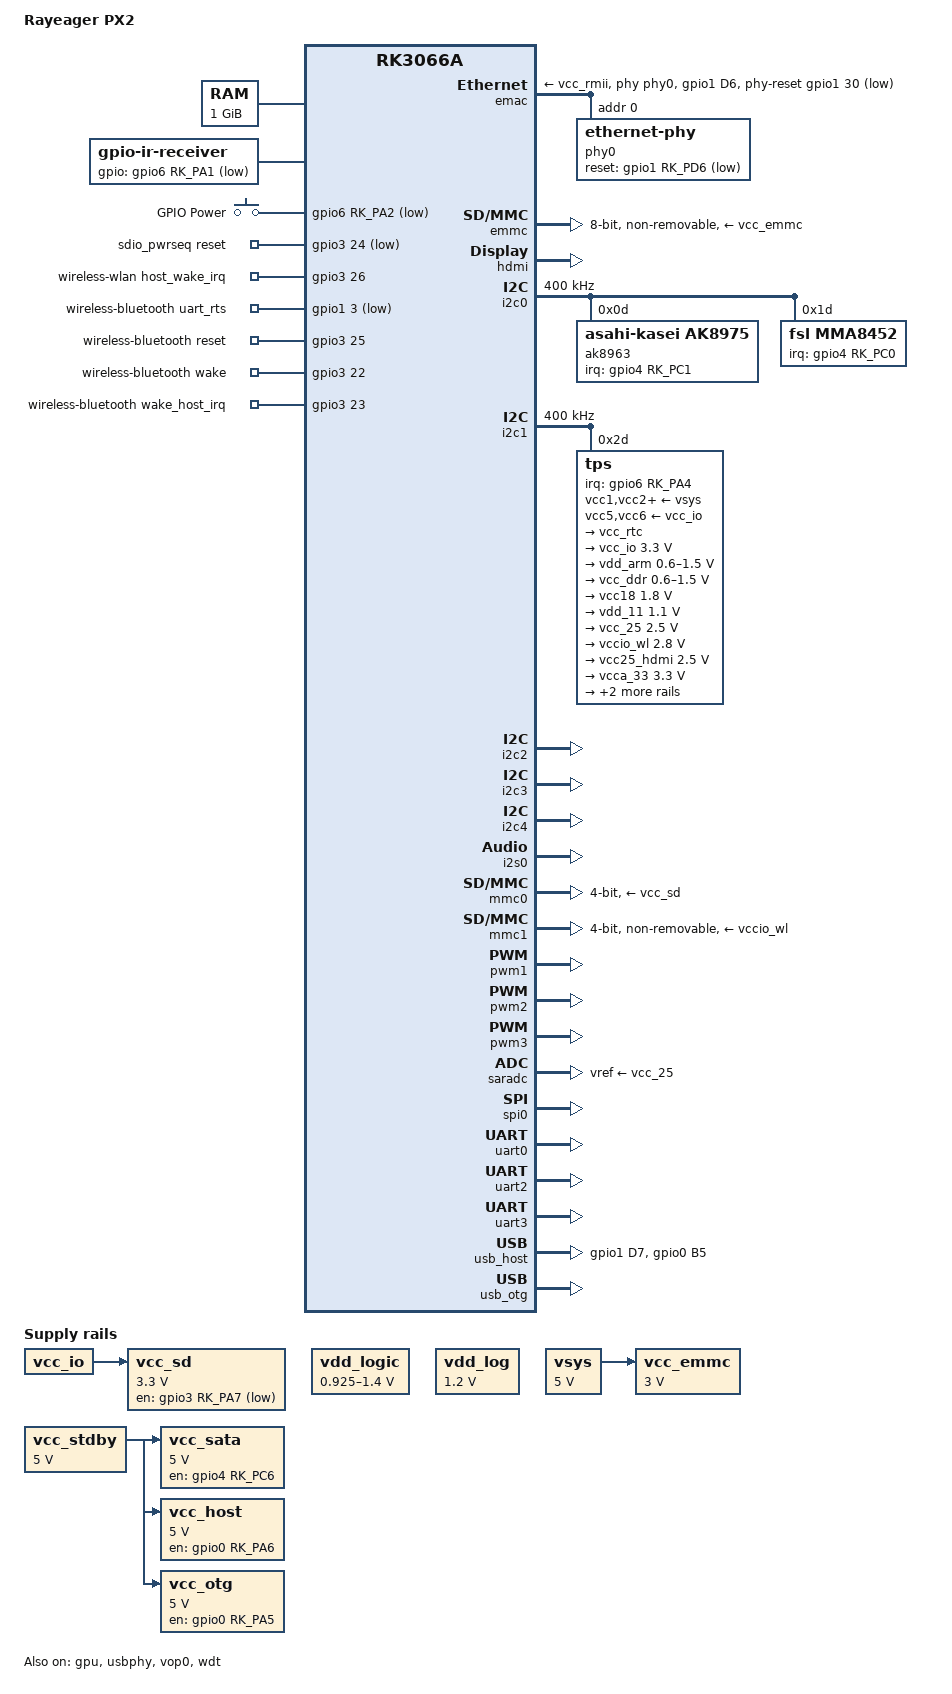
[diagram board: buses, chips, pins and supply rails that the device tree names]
// SPDX-License-Identifier: (GPL-2.0+ OR MIT)
/*
 * Copyright (c) 2014, 2015 FUKAUMI Naoki <naobsd@gmail.com>
 */

/dts-v1/;
#include <dt-bindings/input/input.h>
#include "rk3066a.dtsi"

/ {
	model = "Rayeager PX2";
	compatible = "chipspark,rayeager-px2", "rockchip,rk3066a";

	memory@60000000 {
		device_type = "memory";
		reg = <0x60000000 0x40000000>;
	};

	ir: ir-receiver {
		compatible = "gpio-ir-receiver";
		gpios = <&gpio6 RK_PA1 GPIO_ACTIVE_LOW>;
		pinctrl-names = "default";
		pinctrl-0 = <&ir_int>;
	};

	vdd_logic: vdd-logic {
		compatible = "pwm-regulator";

		pwms = <&pwm3 0 25000>;
		pwm-dutycycle-range = <100 0>;

		regulator-name = "vdd_logic";
		regulator-always-on;
		regulator-boot-on;
		regulator-min-microvolt = <925000>;
		regulator-max-microvolt = <1400000>;
		status = "okay";
	};

	keys: gpio-keys {
		compatible = "gpio-keys";

		power {
			wakeup-source;
			gpios = <&gpio6 RK_PA2 GPIO_ACTIVE_LOW>;
			label = "GPIO Power";
			linux,code = <KEY_POWER>;
			pinctrl-names = "default";
			pinctrl-0 = <&pwr_key>;
		};
	};

	sdio_pwrseq: sdio-pwrseq {
		compatible = "mmc-pwrseq-simple";
		clock-names = "ext_clock";
		pinctrl-names = "default";
		pinctrl-0 = <&wifi_reg_on>;

		/*
		 * On the module itself this is one of these (depending
		 * on the actual card populated):
		 * - SDIO_RESET_L_WL_REG_ON
		 * - PDN (power down when low)
		 */
		reset-gpios = <&gpio3 24 GPIO_ACTIVE_LOW>; /* GPIO3_D0 */
	};

	wireless-wlan {
		compatible = "wlan-platdata";
		rockchip,grf = <&grf>;
		wifi_chip_type = "ap6330";
		sdio_vref = <1800>;

		pinctrl-names = "default";
		pinctrl-0 = <&wifi_host_wake>;
		WIFI,host_wake_irq = <&gpio3 26 GPIO_ACTIVE_HIGH>; /* GPIO3_D2 */
		status = "okay";
	};

	wireless-bluetooth {
		compatible = "bluetooth-platdata";
		clock-names = "ext_clock";
		//wifi-bt-power-toggle;
		uart_rts_gpios = <&gpio1 3 GPIO_ACTIVE_LOW>; /* GPIO2_C3 */
		pinctrl-names = "default", "rts_gpio";
		pinctrl-0 = <&uart0_rts>;
		pinctrl-1 = <&uart0_gpios>;
		//BT,power_gpio  = <&gpio3 19 GPIO_ACTIVE_HIGH>; /* GPIOx_xx */
		BT,reset_gpio    = <&gpio3 25 GPIO_ACTIVE_HIGH>; /* GPIO3_D1 */
		BT,wake_gpio     = <&gpio3 22 GPIO_ACTIVE_HIGH>; /* GPIO3_C6 */
		BT,wake_host_irq = <&gpio3 23 GPIO_ACTIVE_HIGH>; /* GPIO3_C7 */
		status = "okay";
	};


	vdd_log: vdd-log {
		compatible = "pwm-regulator";
		pwms = <&pwm3 0 1000>;
		regulator-name = "vdd_log";
		regulator-min-microvolt = <1200000>;
		regulator-max-microvolt = <1200000>;
		regulator-always-on;
		voltage-table = <1000000 100>,
				<1200000 42>;
		status = "okay";
	};

	vsys: vsys-regulator {
		compatible = "regulator-fixed";
		regulator-name = "vsys";
		regulator-min-microvolt = <5000000>;
		regulator-max-microvolt = <5000000>;
		regulator-always-on;
		regulator-boot-on;
	};

	/* input for 5V_STDBY is VSYS or DC5V, selectable by jumper J4 */
	vcc_stdby: 5v-stdby-regulator {
		compatible = "regulator-fixed";
		regulator-name = "5v_stdby";
		regulator-min-microvolt = <5000000>;
		regulator-max-microvolt = <5000000>;
		regulator-always-on;
		regulator-boot-on;
	};

	vcc_emmc: emmc-regulator {
		compatible = "regulator-fixed";
		regulator-name = "emmc_vccq";
		regulator-min-microvolt = <3000000>;
		regulator-max-microvolt = <3000000>;
		vin-supply = <&vsys>;
	};

	vcc_sata: sata-regulator {
		compatible = "regulator-fixed";
		enable-active-high;
		gpio = <&gpio4 RK_PC6 GPIO_ACTIVE_HIGH>;
		pinctrl-names = "default";
		pinctrl-0 = <&sata_pwr>;
		regulator-name = "usb_5v";
		regulator-min-microvolt = <5000000>;
		regulator-max-microvolt = <5000000>;
		regulator-always-on;
		vin-supply = <&vcc_stdby>;
	};

	vcc_sd: sdmmc-regulator {
		compatible = "regulator-fixed";
		gpio = <&gpio3 RK_PA7 GPIO_ACTIVE_LOW>;
		pinctrl-names = "default";
		pinctrl-0 = <&sdmmc_pwr>;
		regulator-name = "vcc_sd";
		regulator-min-microvolt = <3300000>;
		regulator-max-microvolt = <3300000>;
		startup-delay-us = <100000>;
		vin-supply = <&vcc_io>;
	};

	vcc_host: usb-host-regulator {
		compatible = "regulator-fixed";
		enable-active-high;
		gpio = <&gpio0 RK_PA6 GPIO_ACTIVE_HIGH>;
		pinctrl-names = "default";
		pinctrl-0 = <&host_drv>;
		regulator-name = "host-pwr";
		regulator-min-microvolt = <5000000>;
		regulator-max-microvolt = <5000000>;
		regulator-always-on;
		vin-supply = <&vcc_stdby>;
	};

	vcc_otg: usb-otg-regulator {
		compatible = "regulator-fixed";
		enable-active-high;
		gpio = <&gpio0 RK_PA5 GPIO_ACTIVE_HIGH>;
		pinctrl-names = "default";
		pinctrl-0 = <&otg_drv>;
		regulator-name = "vcc_otg";
		regulator-min-microvolt = <5000000>;
		regulator-max-microvolt = <5000000>;
		regulator-always-on;
		vin-supply = <&vcc_stdby>;
	};

	hdmi_sound: hdmi-sound {
		compatible = "simple-audio-card";
		simple-audio-card,format = "i2s";
		simple-audio-card,mclk-fs = <256>;
		simple-audio-card,name = "rockchip,hdmi";
		simple-audio-card,cpu {
			sound-dai = <&i2s0>;
		};
		simple-audio-card,codec {
			sound-dai = <&hdmi>;
		};
	};
};

&cpu0 {
	cpu-supply = <&vdd_arm>;
};

&cpu1 {
	cpu-supply = <&vdd_arm>;
};

&cpu0_opp_table {
	opp-816000000 {
		status = "okay";
	};
};

&gpu_opp_table {
	opp-300000000 {
		status = "okay";
	};
};

&emac {
	pinctrl-names = "default";
	pinctrl-0 = <&emac_xfer>, <&emac_mdio>, <&rmii_rst>;
	phy = <&phy0>;
	phy-supply = <&vcc_rmii>;
	phy-reset-gpios = <&gpio1 30 GPIO_ACTIVE_LOW>; /* PHY_RST */
	phy-reset-duration = <10>; /* millisecond */
	status = "okay";

	phy0: ethernet-phy@0 {
		reg = <0>;
		reset-gpios = <&gpio1 RK_PD6 GPIO_ACTIVE_LOW>;
	};
};

&emmc {
	bus-width = <8>;
	cap-mmc-highspeed;
	no-sdio;
	no-sd;
	non-removable;
	pinctrl-names = "default";
	pinctrl-0 = <&emmc_clk>, <&emmc_cmd>, <&emmc_rst>;
	vmmc-supply = <&vcc_emmc>;
	vqmmc-supply = <&vcc_emmc>;
	status = "okay";
};

&gpu {
	status = "okay";
};

&hdmi {
	#sound-dai-cells = <0>;
	status = "okay";
};

&i2c0 {
	clock-frequency = <400000>;
	status = "okay";

	ak8963: ak8963@d {
		compatible = "asahi-kasei,ak8975";
		reg = <0x0d>;
		interrupt-parent = <&gpio4>;
		interrupts = <RK_PC1 IRQ_TYPE_EDGE_RISING>;
		pinctrl-names = "default";
		pinctrl-0 = <&comp_int>;
	};

	mma8452: mma8452@1d {
		compatible = "fsl,mma8452";
		reg = <0x1d>;
		interrupt-parent = <&gpio4>;
		interrupts = <RK_PC0 IRQ_TYPE_EDGE_RISING>;
		pinctrl-names = "default";
		pinctrl-0 = <&gsensor_int>;
	};
};

&i2c1 {
	clock-frequency = <400000>;
	status = "okay";

	tps: tps@2d {
		reg = <0x2d>;
		interrupt-parent = <&gpio6>;
		interrupts = <RK_PA4 IRQ_TYPE_EDGE_RISING>;
		pinctrl-names = "default";
		pinctrl-0 = <&pmic_int>, <&pwr_hold>;

		vcc1-supply = <&vsys>;
		vcc2-supply = <&vsys>;
		vcc3-supply = <&vsys>;
		vcc4-supply = <&vsys>;
		vcc5-supply = <&vcc_io>;
		vcc6-supply = <&vcc_io>;
		vcc7-supply = <&vsys>;
		vccio-supply = <&vsys>;

		regulators {
			vcc_rtc: regulator@0 {
				regulator-name = "vcc_rtc";
				regulator-always-on;
			};

			vcc_io: regulator@1 {
				regulator-name = "vcc_io";
				regulator-min-microvolt = <3300000>;
				regulator-max-microvolt = <3300000>;
				regulator-always-on;
			};

			vdd_arm: regulator@2 {
				regulator-name = "vdd_arm";
				regulator-min-microvolt = <600000>;
				regulator-max-microvolt = <1500000>;
				regulator-always-on;
				regulator-boot-on;
			};

			vcc_ddr: regulator@3 {
				regulator-name = "vcc_ddr";
				regulator-min-microvolt = <600000>;
				regulator-max-microvolt = <1500000>;
				regulator-always-on;
				regulator-boot-on;
			};

			vcc18: regulator@5 {
				regulator-name = "vcc18";
				regulator-min-microvolt = <1800000>;
				regulator-max-microvolt = <1800000>;
				regulator-always-on;
			};

			vdd_11: regulator@6 {
				regulator-name = "vdd_11";
				regulator-min-microvolt = <1100000>;
				regulator-max-microvolt = <1100000>;
				regulator-always-on;
			};

			vcc_25: regulator@7 {
				regulator-name = "vcc_25";
				regulator-min-microvolt = <2500000>;
				regulator-max-microvolt = <2500000>;
				regulator-always-on;
			};

			vccio_wl: regulator@8 {
				regulator-name = "vccio_wl";
				regulator-min-microvolt = <2800000>;
				regulator-max-microvolt = <2800000>;
			};

			vcc25_hdmi: regulator@9 {
				regulator-name = "vcc25_hdmi";
				regulator-min-microvolt = <2500000>;
				regulator-max-microvolt = <2500000>;
				regulator-always-on;
				regulator-boot-on;
			};

			vcca_33: regulator@10 {
				regulator-name = "vcca_33";
				regulator-min-microvolt = <3300000>;
				regulator-max-microvolt = <3300000>;
			};

			vcc_rmii: regulator@11 {
				regulator-name = "vcc_rmii";
				regulator-min-microvolt = <3300000>;
				regulator-max-microvolt = <3300000>;
			};

			vcc28_cif: regulator@12 {
				regulator-name = "vcc28_cif";
				regulator-min-microvolt = <2800000>;
				regulator-max-microvolt = <2800000>;
			};
		};
	};
};

#include "tps65910.dtsi"

&i2c2 {
	status = "okay";
};

&i2c3 {
	status = "okay";
};

&i2c4 {
	status = "okay";
};

&i2s0 {
	#sound-dai-cells = <0>;
	status = "okay";
};

&mmc0 {
	bus-width = <4>;
	disable-wp;
	no-mmc;
	no-sdio;
	pinctrl-names = "default";
	pinctrl-0 = <&sd0_clk>, <&sd0_cmd>, <&sd0_cd>, <&sd0_bus4>;
	vmmc-supply = <&vcc_sd>;
	cap-mmc-highspeed;
	cap-sd-highspeed;
	status = "okay";
};

&mmc1 {
	max-frequency = <50000000>;
	cap-sd-highspeed;
	keep-power-in-suspend;
	mmc-pwrseq = <&sdio_pwrseq>;
	sd-uhs-sdr104;

	bus-width = <4>;
	non-removable;
	no-mmc;
	no-sd;
	pinctrl-names = "default";
	pinctrl-0 = <&sd1_clk>, <&sd1_cmd>, <&sd1_bus4>;
	vmmc-supply = <&vccio_wl>;
	status = "okay";
};

&pinctrl {
	pcfg_output_high: pcfg-output-high {
		output-high;
	};

	ak8963 {
		comp_int: comp-int {
			rockchip,pins = <4 RK_PC1 RK_FUNC_GPIO &pcfg_pull_default>;
		};
	};

	emac {
		rmii_rst: rmii-rst {
			rockchip,pins = <1 RK_PD6 RK_FUNC_GPIO &pcfg_output_high>;
		};
	};

	ir {
		ir_int: ir-int {
			rockchip,pins = <6 RK_PA1 RK_FUNC_GPIO &pcfg_pull_default>;
		};
	};

	keys {
		pwr_key: pwr-key {
			rockchip,pins = <6 RK_PA2 RK_FUNC_GPIO &pcfg_pull_default>;
		};
	};

	mma8452 {
		gsensor_int: gsensor-int {
			rockchip,pins = <4 RK_PC0 RK_FUNC_GPIO &pcfg_pull_default>;
		};
	};

	mmc {
		sdmmc_pwr: sdmmc-pwr {
			rockchip,pins = <3 RK_PA7 RK_FUNC_GPIO &pcfg_pull_default>;
		};
	};

	usb_host {
		host_drv: host-drv {
			rockchip,pins = <0 RK_PA6 RK_FUNC_GPIO &pcfg_pull_default>;
		};

		hub_rst: hub-rst {
			rockchip,pins = <1 RK_PD7 RK_FUNC_GPIO &pcfg_output_high>;
		};

		sata_pwr: sata-pwr {
			rockchip,pins = <4 RK_PC6 RK_FUNC_GPIO &pcfg_pull_default>;
		};

		sata_reset: sata-reset {
			rockchip,pins = <0 RK_PB5 RK_FUNC_GPIO &pcfg_output_high>;
		};
	};

	usb_otg {
		otg_drv: otg-drv {
			rockchip,pins = <0 RK_PA5 RK_FUNC_GPIO &pcfg_pull_default>;
		};
	};

	tps {
		pmic_int: pmic-int {
			rockchip,pins = <6 RK_PA4 RK_FUNC_GPIO &pcfg_pull_default>;
		};

		pwr_hold: pwr-hold {
			rockchip,pins = <6 RK_PB0 RK_FUNC_GPIO &pcfg_output_high>;
		};
	};

	wireless-bluetooth {
		uart0_gpios: uart0-gpios {
			rockchip,pins = <1 RK_PA3 RK_FUNC_GPIO &pcfg_pull_none>;
		};

		wifi_reg_on: wifi-reg-on {
			rockchip,pins = <3 RK_PD0 RK_FUNC_GPIO &pcfg_pull_none>;
		};

		wifi_host_wake: wifi-host-wake {
			rockchip,pins = <1 RK_PD2 RK_FUNC_GPIO &pcfg_pull_none>;
		};
	};
};

&pwm1 {
	status = "okay";
};

&pwm2 {
	status = "okay";
};

&pwm3 {
	status = "okay";
};

&saradc {
	vref-supply = <&vcc_25>;
	status = "okay";
};

&spi0 {
	status = "okay";
};

&uart0 {
	pinctrl-names = "default";
	pinctrl-0 = <&uart0_xfer>, <&uart0_cts>;
	status = "okay";
};

&uart2 {
	status = "okay";
};

&uart3 {
	pinctrl-names = "default";
	pinctrl-0 = <&uart3_xfer>, <&uart3_cts>, <&uart3_rts>;
	status = "okay";
};

&usb_host {
	pinctrl-names = "default";
	pinctrl-0 = <&hub_rst>, <&sata_reset>;
	status = "okay";
};

&usbphy {
	status = "okay";
};

&usb_otg {
	status = "okay";
};

&vop0 {
	status = "okay";
};

&wdt {
	status = "okay";
};
